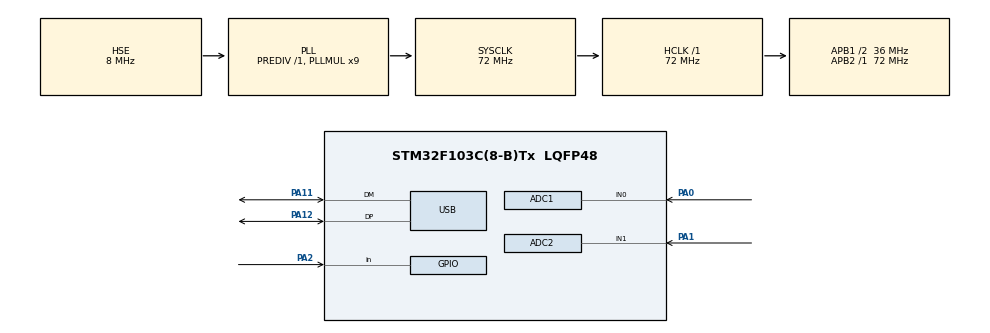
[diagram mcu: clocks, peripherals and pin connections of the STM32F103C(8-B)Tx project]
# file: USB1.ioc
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ADC1.Channel-0\#ChannelRegularConversion=ADC_CHANNEL_0
ADC1.NbrOfConversionFlag=1
ADC1.Rank-0\#ChannelRegularConversion=1
ADC1.SamplingTime-0\#ChannelRegularConversion=ADC_SAMPLETIME_1CYCLE_5
ADC1.master=1
ADC2.Channel-0\#ChannelRegularConversion=ADC_CHANNEL_1
ADC2.NbrOfConversionFlag=1
ADC2.Rank-0\#ChannelRegularConversion=1
ADC2.SamplingTime-0\#ChannelRegularConversion=ADC_SAMPLETIME_1CYCLE_5
Mcu.Family=STM32F1
Mcu.Name=STM32F103C(8-B)Tx
Mcu.Package=LQFP48
NVIC.PriorityGroup=NVIC_PRIORITYGROUP_4
NVIC.USB_LP_CAN1_RX0_IRQn=true\:0\:0\:false\:false\:true\:false\:true\:true
PA0-WKUP.Signal=ADCx_IN0
PA1.Signal=ADCx_IN1
PA11.Mode=Device
PA11.Signal=USB_DM
PA12.Mode=Device
PA12.Signal=USB_DP
PA13.Mode=Serial_Wire
PA13.Signal=SYS_JTMS-SWDIO
PA14.Mode=Serial_Wire
PA14.Signal=SYS_JTCK-SWCLK
PA2.GPIO_PuPd=GPIO_PULLDOWN
PA2.Signal=GPIO_Input
PD0-OSC_IN.Mode=HSE-External-Oscillator
PD0-OSC_IN.Signal=RCC_OSC_IN
PD1-OSC_OUT.Mode=HSE-External-Oscillator
PD1-OSC_OUT.Signal=RCC_OSC_OUT
ProjectManager.HeapSize=0x200
ProjectManager.StackSize=0x400
ProjectManager.TargetToolchain=MDK-ARM V5.32
RCC.ADCPresc=RCC_ADCPCLK2_DIV6
RCC.AHBFreq_Value=72000000
RCC.APB1CLKDivider=RCC_HCLK_DIV2
RCC.APB1Freq_Value=36000000
RCC.APB1TimFreq_Value=72000000
RCC.APB2Freq_Value=72000000
RCC.APB2TimFreq_Value=72000000
RCC.HCLKFreq_Value=72000000
RCC.PLLMUL=RCC_PLL_MUL9
RCC.SYSCLKFreq_VALUE=72000000
RCC.SYSCLKSource=RCC_SYSCLKSOURCE_PLLCLK
RCC.USBFreq_Value=48000000
RCC.USBPrescaler=RCC_USBCLKSOURCE_PLL_DIV1_5
SH.ADCx_IN0.0=ADC1_IN0,IN0
SH.ADCx_IN1.0=ADC2_IN1,IN1
USB_DEVICE.CLASS_NAME_FS=HID
USB_DEVICE.VirtualMode=Hid
USB_DEVICE.VirtualModeFS=Hid_FS
VP_USB_DEVICE_VS_USB_DEVICE_HID_FS.Mode=HID_FS
board=custom

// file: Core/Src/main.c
/* USER CODE BEGIN Header */
/**
  ******************************************************************************
  * @file           : main.c
  * @brief          : Main program body
  ******************************************************************************
  * @attention
  *
  * Copyright (c) 2024 STMicroelectronics.
  * All rights reserved.
  *
  * This software is licensed under terms that can be found in the LICENSE file
  * in the root directory of this software component.
  * If no LICENSE file comes with this software, it is provided AS-IS.
  *
  ******************************************************************************
  */
/* USER CODE END Header */
#include "main.h"
#include "usb_device.h"

/* USER CODE BEGIN Includes */
# include "usbd_hid.h"

extern USBD_HandleTypeDef hUsbDeviceFS;

/* USER CODE END Includes */

ADC_HandleTypeDef hadc1;
ADC_HandleTypeDef hadc2;

void SystemClock_Config(void);
static void MX_GPIO_Init(void);
static void MX_ADC1_Init(void);
static void MX_ADC2_Init(void);

int main(void)
{

  /* MCU Configuration--------------------------------------------------------*/

  /* Reset of all peripherals, Initializes the Flash interface and the Systick. */
  HAL_Init();

  /* Configure the system clock */
  SystemClock_Config();

  /* Initialize all configured peripherals */
  MX_GPIO_Init();
  MX_ADC1_Init();
  MX_ADC2_Init();
  MX_USB_DEVICE_Init();
  /* USER CODE BEGIN 2 */
    uint8_t key = 0x00;

	uint8_t HID_Buffer[4] = {0};
	uint16_t ADC0_Value = 0;
	uint16_t ADC1_Value = 0;

  /* USER CODE END 2 */

  /* Infinite loop */
  /* USER CODE BEGIN WHILE */
  while (1)
  {

    key = HAL_GPIO_ReadPin(GPIOA,GPIO_PIN_2);
    HAL_ADC_Start(&hadc1);
    HAL_ADC_PollForConversion(&hadc1,HAL_MAX_DELAY);
    ADC0_Value = (uint16_t)HAL_ADC_GetValue(&hadc1);

    HAL_ADC_Start(&hadc2);
    HAL_ADC_PollForConversion(&hadc2,HAL_MAX_DELAY);
    ADC1_Value = (uint16_t)HAL_ADC_GetValue(&hadc2);

    HAL_Delay(50);
    HID_Buffer[0] = key;
    HID_Buffer[1] = (ADC0_Value - 2048)/256;
    HID_Buffer[2] = (2048 - ADC1_Value)/256;

    USBD_HID_SendReport(&hUsbDeviceFS,HID_Buffer,4);
    /* USER CODE END WHILE */

  }
}

void SystemClock_Config(void)
{
  RCC_OscInitTypeDef RCC_OscInitStruct = {0};
  RCC_ClkInitTypeDef RCC_ClkInitStruct = {0};
  RCC_PeriphCLKInitTypeDef PeriphClkInit = {0};

  /** Initializes the RCC Oscillators according to the specified parameters
  * in the RCC_OscInitTypeDef structure.
  */
  RCC_OscInitStruct.OscillatorType = RCC_OSCILLATORTYPE_HSE;
  RCC_OscInitStruct.HSEState = RCC_HSE_ON;
  RCC_OscInitStruct.HSEPredivValue = RCC_HSE_PREDIV_DIV1;
  RCC_OscInitStruct.HSIState = RCC_HSI_ON;
  RCC_OscInitStruct.PLL.PLLState = RCC_PLL_ON;
  RCC_OscInitStruct.PLL.PLLSource = RCC_PLLSOURCE_HSE;
  RCC_OscInitStruct.PLL.PLLMUL = RCC_PLL_MUL9;
  if (HAL_RCC_OscConfig(&RCC_OscInitStruct) != HAL_OK)
  {
    Error_Handler();
  }

  /** Initializes the CPU, AHB and APB buses clocks
  */
  RCC_ClkInitStruct.ClockType = RCC_CLOCKTYPE_HCLK|RCC_CLOCKTYPE_SYSCLK
                              |RCC_CLOCKTYPE_PCLK1|RCC_CLOCKTYPE_PCLK2;
  RCC_ClkInitStruct.SYSCLKSource = RCC_SYSCLKSOURCE_PLLCLK;
  RCC_ClkInitStruct.AHBCLKDivider = RCC_SYSCLK_DIV1;
  RCC_ClkInitStruct.APB1CLKDivider = RCC_HCLK_DIV2;
  RCC_ClkInitStruct.APB2CLKDivider = RCC_HCLK_DIV1;

  if (HAL_RCC_ClockConfig(&RCC_ClkInitStruct, FLASH_LATENCY_2) != HAL_OK)
  {
    Error_Handler();
  }
  PeriphClkInit.PeriphClockSelection = RCC_PERIPHCLK_ADC|RCC_PERIPHCLK_USB;
  PeriphClkInit.AdcClockSelection = RCC_ADCPCLK2_DIV6;
  PeriphClkInit.UsbClockSelection = RCC_USBCLKSOURCE_PLL_DIV1_5;
  if (HAL_RCCEx_PeriphCLKConfig(&PeriphClkInit) != HAL_OK)
  {
    Error_Handler();
  }
}

static void MX_ADC1_Init(void)
{

  ADC_ChannelConfTypeDef sConfig = {0};

  /** Common config
  */
  hadc1.Instance = ADC1;
  hadc1.Init.ScanConvMode = ADC_SCAN_DISABLE;
  hadc1.Init.ContinuousConvMode = DISABLE;
  hadc1.Init.DiscontinuousConvMode = DISABLE;
  hadc1.Init.ExternalTrigConv = ADC_SOFTWARE_START;
  hadc1.Init.DataAlign = ADC_DATAALIGN_RIGHT;
  hadc1.Init.NbrOfConversion = 1;
  if (HAL_ADC_Init(&hadc1) != HAL_OK)
  {
    Error_Handler();
  }

  /** Configure Regular Channel
  */
  sConfig.Channel = ADC_CHANNEL_0;
  sConfig.Rank = ADC_REGULAR_RANK_1;
  sConfig.SamplingTime = ADC_SAMPLETIME_1CYCLE_5;
  if (HAL_ADC_ConfigChannel(&hadc1, &sConfig) != HAL_OK)
  {
    Error_Handler();
  }

}

static void MX_ADC2_Init(void)
{

  ADC_ChannelConfTypeDef sConfig = {0};

  /** Common config
  */
  hadc2.Instance = ADC2;
  hadc2.Init.ScanConvMode = ADC_SCAN_DISABLE;
  hadc2.Init.ContinuousConvMode = DISABLE;
  hadc2.Init.DiscontinuousConvMode = DISABLE;
  hadc2.Init.ExternalTrigConv = ADC_SOFTWARE_START;
  hadc2.Init.DataAlign = ADC_DATAALIGN_RIGHT;
  hadc2.Init.NbrOfConversion = 1;
  if (HAL_ADC_Init(&hadc2) != HAL_OK)
  {
    Error_Handler();
  }

  /** Configure Regular Channel
  */
  sConfig.Channel = ADC_CHANNEL_1;
  sConfig.Rank = ADC_REGULAR_RANK_1;
  sConfig.SamplingTime = ADC_SAMPLETIME_1CYCLE_5;
  if (HAL_ADC_ConfigChannel(&hadc2, &sConfig) != HAL_OK)
  {
    Error_Handler();
  }

}

static void MX_GPIO_Init(void)
{
  GPIO_InitTypeDef GPIO_InitStruct = {0};

  /* GPIO Ports Clock Enable */
  __HAL_RCC_GPIOD_CLK_ENABLE();
  __HAL_RCC_GPIOA_CLK_ENABLE();

  /*Configure GPIO pin : PA2 */
  GPIO_InitStruct.Pin = GPIO_PIN_2;
  GPIO_InitStruct.Mode = GPIO_MODE_INPUT;
  GPIO_InitStruct.Pull = GPIO_PULLDOWN;
  HAL_GPIO_Init(GPIOA, &GPIO_InitStruct);

}

void Error_Handler(void)
{
  __disable_irq();
  while (1)
  {
  }
}
